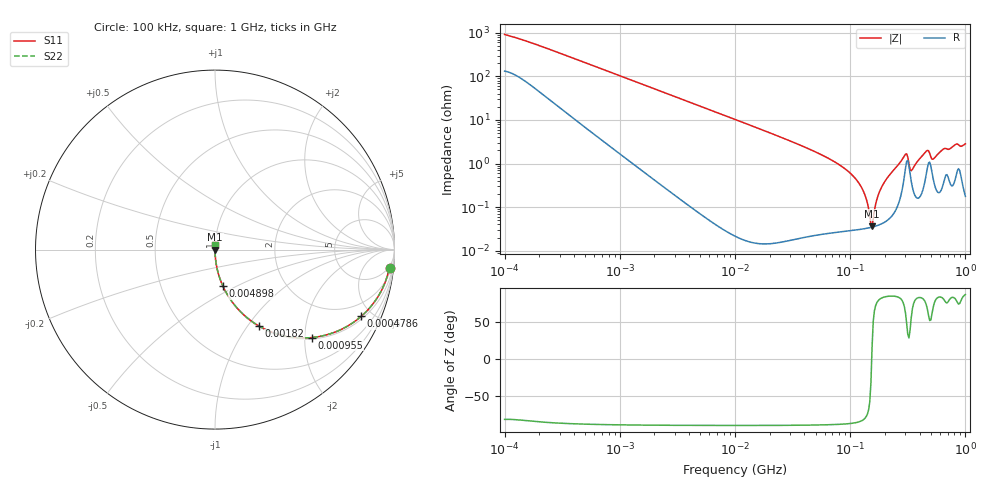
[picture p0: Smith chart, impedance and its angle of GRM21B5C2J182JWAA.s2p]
!Murata Part Number: GRM21B5C2J182JWAA
!These Parameters are Measured in Series Mode Connection
!Data Generated on Mar 30, 2021
!  o--ll--o
!Port1  Port2
!  o------o
!Operation Temp=25[degC], DC Bias Voltage=0[V]
!Freq. Start=100[kHz] Stop=1000[MHz] 401[Steps]
# Hz S RI R 50
!Freq.(Hz) S11(Real) S11(Imag) S21(Real) S21(Imag) S12(Real) S12(Imag) S22(Real) S22(Imag)
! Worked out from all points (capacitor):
!   401 points, 100 kHz to 1 GHz, reference 50 ohm
!   read as one part in series: C = 1.66 nF near 104.7 kHz
!   lowest |Z| = 36.3 mohm at 154.9 MHz (marker M1)
!   series resonance near 153.8 MHz, so ESL is about 650 pH
!   S11 on the Smith chart (normalised r, x): 100 kHz: 4, -18; 478.6 kHz: 1.15, -4.31; 955 kHz: 1.04, -2.16; 1.82 MHz: 1.01, -1.14; 4.898 MHz: 1.00, -0.42; 1 GHz: 1.00, +0.06
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100000  0.9734 -0.1038  0.0266 0.1038  0.0266 0.1038  0.9734 -0.1038
467735  0.8209 -0.3663  0.1791 0.3663  0.1791 0.3663  0.8209 -0.3663
478630  0.8146 -0.3719  0.1854 0.3719  0.1854 0.3719  0.8146 -0.3719
954993  0.5385 -0.4901  0.4615 0.4901  0.4615 0.4901  0.5385 -0.4901
1819701  0.2457 -0.4261  0.7543 0.4261  0.7543 0.4261  0.2457 -0.4261
2187762  0.1842 -0.3839  0.8158 0.3839  0.8158 0.3839  0.1842 -0.3839
4897788  0.0432 -0.2015  0.9568 0.2015  0.9568 0.2015  0.0432 -0.2015
1e7  0.0107 -0.1017  0.9893 0.1017  0.9893 0.1017  0.0107 -0.1017
4.677351e7  0.000618 -0.02  0.9994 0.02  0.9994 0.02  0.000618 -0.02
7.943282e7  0.000358 -0.00956  0.9996 0.00956  0.9996 0.00956  0.000358 -0.00956
1.096478e8  0.000318 -0.00469  0.9997 0.00469  0.9997 0.00469  0.000318 -0.00469
1.318257e8  0.000323 -0.00212  0.9997 0.00212  0.9997 0.00212  0.000323 -0.00212
1.479108e8  0.000338 -0.000538  0.9997 0.000538  0.9997 0.000538  0.000338 -0.000538
1.548817e8  0.000348 0.000101  0.9997 -0.000101  0.9997 -0.000101  0.000348 0.000101
1.778279e8  0.000395 0.00207  0.9996 -0.00207  0.9996 -0.00207  0.000395 0.00207
2.187762e8  0.000572 0.00537  0.9994 -0.00537  0.9994 -0.00537  0.000572 0.00537
3.019952e8  0.0079 0.0142  0.9921 -0.0142  0.9921 -0.0142  0.0079 0.0142
3.467368e8  0.00288 0.00673  0.9971 -0.00673  0.9971 -0.00673  0.00288 0.00673
4.570882e8  0.00591 0.0181  0.9941 -0.0181  0.9941 -0.0181  0.00591 0.0181
5.248075e8  0.00464 0.0116  0.9954 -0.0116  0.9954 -0.0116  0.00464 0.0116
6.456542e8  0.00402 0.0211  0.996 -0.0211  0.996 -0.0211  0.00402 0.0211
1e9  0.00256 0.0281  0.9974 -0.0281  0.9974 -0.0281  0.00256 0.0281
